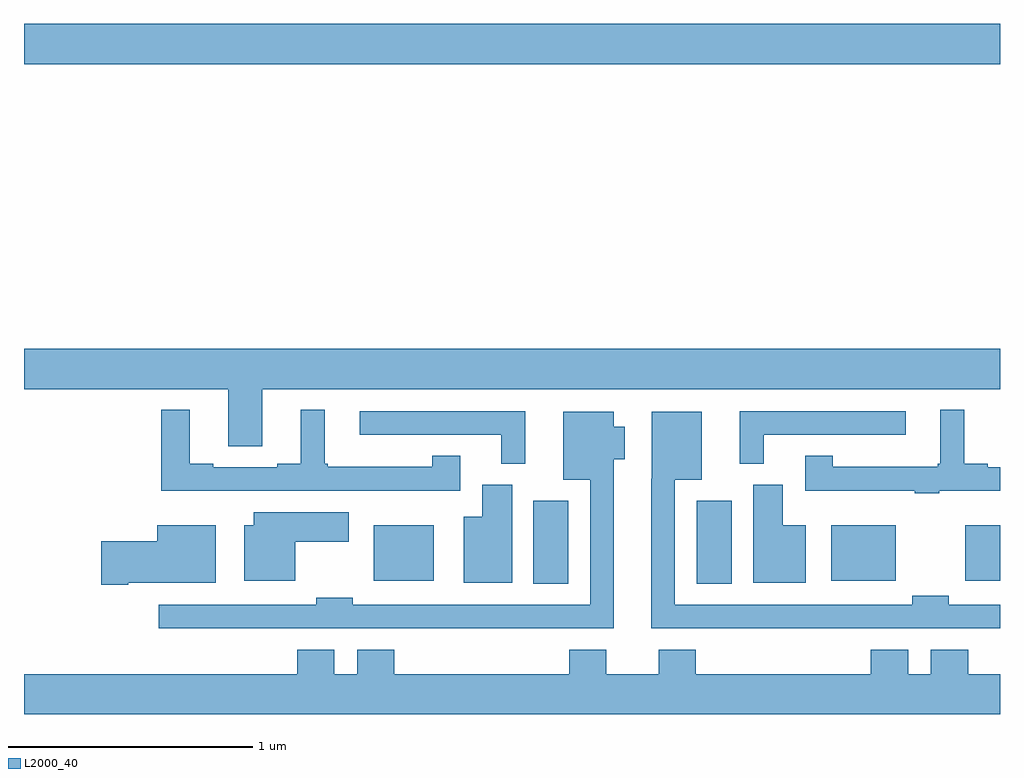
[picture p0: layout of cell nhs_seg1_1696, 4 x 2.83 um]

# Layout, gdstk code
import gdstk
lib = gdstk.Library(unit=1e-6, precision=1e-09)
def R(c, l, rs):  # rectangles x0, y0, x1, y1
    for r in rs: c.add(gdstk.rectangle(r[:2], r[2:], *l))
def P(c, l, *ps):  # polygons
    for p in ps: c.add(gdstk.Polygon(p, *l))
L2000_40 = (2000, 40)

nhs_seg1_1696 = lib.new_cell('nhs_seg1_1696')
R(nhs_seg1_1696, L2000_40, [(205.088,553.597,205.231,553.939), (205.757,553.597,205.9,553.939), (204.434,553.61,204.679,553.837), (206.309,553.61,206.572,553.837), (206.858,553.61,207,553.837), (203,555.728,207,555.892)])
P(nhs_seg1_1696, L2000_40, [(203.977,554.396),(207,554.396),(207,554.56),(203,554.56),(203,554.396),(203.837,554.396),(203.837,554.161),(203.977,554.161)],
  [(206.75,553.979),(207,553.979),(207,554.076),(206.95,554.076),(206.95,554.089),(206.854,554.089),(206.854,554.311),(206.756,554.311),(206.756,554.089),(206.745,554.089),(206.745,554.077),(206.315,554.077),(206.315,554.123),(206.202,554.123),(206.202,553.979),(206.65,553.979),(206.65,553.968),(206.75,553.968)],
  [(203.846,553.98),(204.438,553.98),(204.438,553.979),(204.787,553.979),(204.787,554.123),(204.674,554.123),(204.674,554.077),(204.244,554.077),(204.244,554.089),(204.232,554.089),(204.232,554.311),(204.134,554.311),(204.134,554.089),(204.038,554.089),(204.038,554.076),(203.776,554.076),(203.776,554.089),(203.68,554.089),(203.68,554.311),(203.563,554.311),(203.563,553.979),(203.846,553.979)],
  [(206.032,554.208),(206.614,554.208),(206.614,554.304),(205.934,554.304),(205.934,554.089),(206.032,554.089)],
  [(205.054,554.304),(204.375,554.304),(204.375,554.208),(204.956,554.208),(204.956,554.089),(205.054,554.089)],
  [(206.387,553.416),(206.89,553.416),(206.89,553.415),(207,553.415),(207,553.512),(206.79,553.512),(206.79,553.548),(206.64,553.548),(206.64,553.512),(205.668,553.512),(205.668,554.024),(205.777,554.024),(205.777,554.302),(205.572,554.302),(205.572,554.028),(205.571,554.028),(205.571,553.416),(205.837,553.416),(205.837,553.415),(206.387,553.415)],
  [(204.098,553.416),(204.601,553.416),(204.601,553.415),(205.151,553.415),(205.151,553.416),(205.417,553.416),(205.417,554.108),(205.462,554.108),(205.462,554.242),(205.417,554.242),(205.417,554.302),(205.211,554.302),(205.211,554.024),(205.32,554.024),(205.32,553.512),(204.348,553.512),(204.348,553.54),(204.198,553.54),(204.198,553.512),(203.553,553.512),(203.553,553.415),(204.098,553.415)],
  [(205,554.004),(204.878,554.004),(204.878,553.873),(204.803,553.873),(204.803,553.601),(205,553.601)],
  [(206.203,553.837),(206.11,553.837),(206.11,554.004),(205.988,554.004),(205.988,553.601),(206.203,553.601)],
  [(204.112,553.769),(204.331,553.769),(204.331,553.891),(203.942,553.891),(203.942,553.837),(203.903,553.837),(203.903,553.61),(204.112,553.61)],
  [(203.428,553.601),(203.785,553.601),(203.785,553.837),(203.546,553.837),(203.546,553.772),(203.316,553.772),(203.316,553.594),(203.428,553.594)],
  [(206.717,553.327),(206.717,553.228),(206.623,553.228),(206.623,553.327),(206.471,553.327),(206.471,553.228),(205.754,553.228),(205.754,553.327),(205.601,553.327),(205.601,553.228),(205.387,553.228),(205.387,553.327),(205.235,553.327),(205.235,553.228),(204.518,553.228),(204.518,553.327),(204.365,553.327),(204.365,553.228),(204.271,553.228),(204.271,553.327),(204.119,553.327),(204.119,553.228),(203,553.228),(203,553.064),(207,553.064),(207,553.228),(206.87,553.228),(206.87,553.327)])

lib.write_gds('nhs_seg1_1696.gds')
